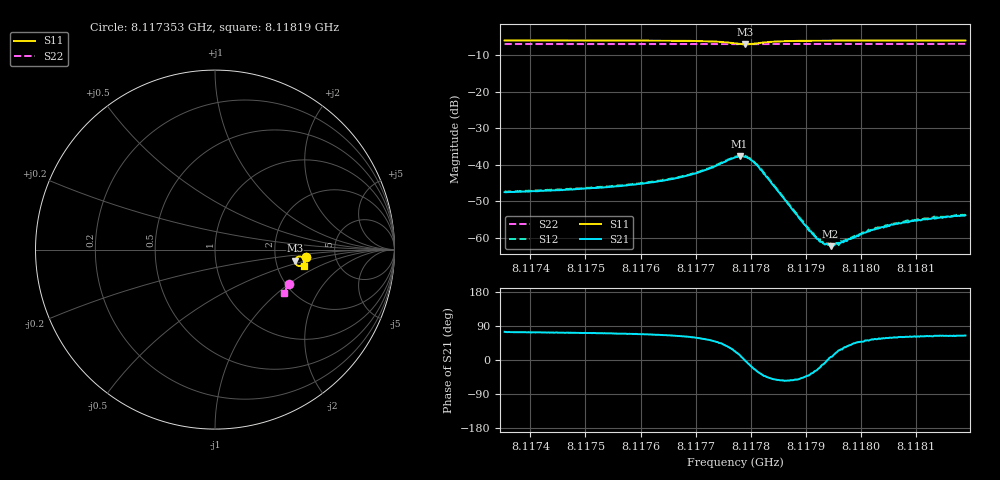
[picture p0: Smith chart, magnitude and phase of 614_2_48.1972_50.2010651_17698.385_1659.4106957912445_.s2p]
#  HZ  S  RI  R  50.00
! Rohde & Schwarz Vector Network Analyzer
! Rohde-Schwarz,ZNB20-2Port,1311601062101988,3.16
! Created: UTC 3/20/2024, 12:03:38 PM
! freq[Hz]  re:S11  im:S11  re:S21  im:S21  re:S12  im:S12  re:S22  im:S22
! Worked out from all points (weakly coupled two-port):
!   401 points, 8.117353 GHz to 8.11819 GHz, reference 50 ohm
!   highest |S21| = -37.60 dB at 8.11778 GHz (marker M1); lowest = -62.3 dB at 8.117945 GHz (marker M2)
!   lowest |S11| = -6.9 dB at 8.11779 GHz (marker M3), VSWR 2.63, Z = 128 - j20.1 ohm
!   |S11| at or under -10 dB: nowhere
!   |S22| runs from -6.9 to -6.8 dB; largest |S21 - S12| = 0.00049
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8.1173533e9  0.5052 -0.0423  0.00114 0.00408  0.00123 0.00415  0.4097 -0.1918
8.1174934e9  0.5033 -0.055  0.00152 0.00448  0.00151 0.00455  0.4056 -0.2007
8.1175645e9  0.5017 -0.0622  0.00181 0.00484  0.00187 0.00493  0.4035 -0.2054
8.1176335e9  0.4991 -0.0706  0.00239 0.00546  0.00249 0.00556  0.4014 -0.2099
8.1176711e9  0.496 -0.0765  0.00304 0.00601  0.00319 0.00612  0.4002 -0.2125
8.1177045e9  0.4912 -0.0828  0.00417 0.00668  0.00426 0.00679  0.3988 -0.2146
8.1177714e9  0.4545 -0.0852  0.0117 0.00494  0.0119 0.00502  0.3954 -0.2184
8.1177798e9  0.4479 -0.0771  0.0128 0.00303  0.013 0.00291  0.3948 -0.2182
8.1177902e9  0.445 -0.0625  0.0129 -0.000527  0.0133 -0.000489  0.3946 -0.2182
8.1178007e9  0.4506 -0.0485  0.0111 -0.00339  0.0114 -0.00344  0.3947 -0.2183
8.1178153e9  0.466 -0.039  0.00768 -0.00509  0.00781 -0.00532  0.395 -0.2189
8.1178509e9  0.49 -0.0458  0.00258 -0.00339  0.0026 -0.00347  0.395 -0.2217
8.1179115e9  0.4988 -0.0617  0.000938 -0.000652  0.000971 -0.00069  0.3932 -0.2261
8.117924e9  0.4991 -0.0641  0.000851 -0.00033  0.000897 -0.000366  0.3927 -0.2269
8.1179324e9  0.4994 -0.0655  0.000826 -0.000157  0.000794 -0.000137  0.3926 -0.2275
8.1179449e9  0.4997 -0.0675  0.000763 0.000104  0.000838 8.3e-05  0.3922 -0.2283
8.1179575e9  0.4998 -0.0694  0.00077 0.000319  0.000788 0.000316  0.3917 -0.2291
8.1180097e9  0.4998 -0.0762  0.000745 0.000932  0.000759 0.00099  0.39 -0.2324
8.1180516e9  0.4994 -0.0808  0.000753 0.00124  0.000783 0.00128  0.3886 -0.2351
8.1180808e9  0.4991 -0.0837  0.000787 0.00144  0.000837 0.00148  0.3877 -0.2369
8.1181352e9  0.4983 -0.0887  0.000816 0.00166  0.000831 0.00172  0.3857 -0.2402
8.1181895e9  0.4976 -0.0935  0.000879 0.00185  0.000952 0.00187  0.3838 -0.2438
